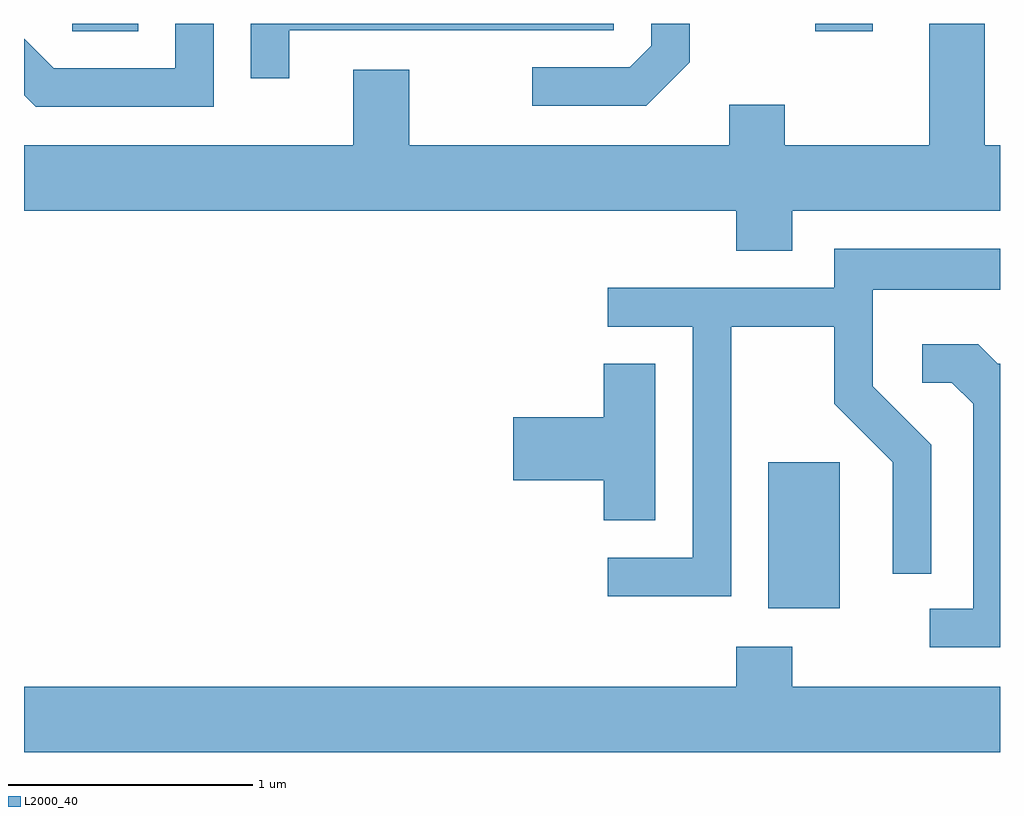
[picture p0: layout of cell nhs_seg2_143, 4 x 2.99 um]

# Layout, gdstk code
import gdstk
lib = gdstk.Library(unit=1e-6, precision=1e-09)
def R(c, l, rs):  # rectangles x0, y0, x1, y1
    for r in rs: c.add(gdstk.rectangle(r[:2], r[2:], *l))
def P(c, l, *ps):  # polygons
    for p in ps: c.add(gdstk.Polygon(p, *l))
L2000_40 = (2000, 40)

nhs_seg2_143 = lib.new_cell('nhs_seg2_143')
R(nhs_seg2_143, L2000_40, [(192.661,993.406,192.954,994.004), (189.808,995.771,190.079,995.802), (192.853,995.771,193.089,995.802)])
P(nhs_seg2_143, L2000_40, [(192.759,995.036),(193.611,995.036),(193.611,995.304),(193.549,995.304),(193.549,995.802),(193.321,995.802),(193.321,995.304),(192.729,995.304),(192.729,995.469),(192.501,995.469),(192.501,995.304),(191.189,995.304),(191.189,995.614),(190.961,995.614),(190.961,995.304),(189.611,995.304),(189.611,995.036),(192.531,995.036),(192.531,994.871),(192.759,994.871)],
  [(190.699,995.776),(192.029,995.776),(192.029,995.802),(190.541,995.802),(190.541,995.578),(190.699,995.578)],
  [(190.389,995.802),(190.231,995.802),(190.231,995.619),(189.732,995.619),(189.611,995.74),(189.611,995.509),(189.659,995.461),(190.389,995.461)],
  [(192.339,995.644),(192.339,995.802),(192.181,995.802),(192.181,995.712),(192.094,995.624),(191.693,995.624),(191.693,995.466),(192.162,995.466)],
  [(192.509,994.561),(192.931,994.561),(192.931,994.244),(193.171,994.004),(193.171,993.548),(193.329,993.548),(193.329,994.077),(193.089,994.317),(193.089,994.711),(193.611,994.711),(193.611,994.879),(192.931,994.879),(192.931,994.719),(192.003,994.719),(192.003,994.561),(192.351,994.561),(192.351,993.614),(192.003,993.614),(192.003,993.456),(192.509,993.456)],
  [(193.611,994.409),(193.602,994.409),(193.522,994.489),(193.293,994.489),(193.293,994.331),(193.414,994.331),(193.501,994.244),(193.501,993.404),(193.323,993.404),(193.323,993.246),(193.611,993.246)],
  [(192.199,994.409),(191.986,994.409),(191.986,994.189),(191.616,994.189),(191.616,993.931),(191.986,993.931),(191.986,993.766),(192.199,993.766)],
  [(193.611,993.084),(192.759,993.084),(192.759,993.249),(192.531,993.249),(192.531,993.084),(189.611,993.084),(189.611,992.816),(193.611,992.816)])

lib.write_gds('nhs_seg2_143.gds')
